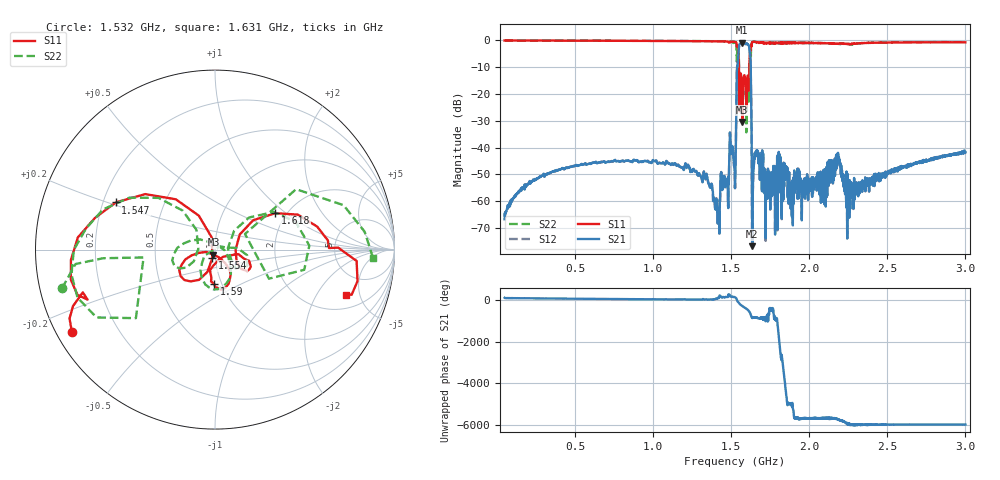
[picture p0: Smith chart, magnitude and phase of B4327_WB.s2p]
! Matrix data file written by TouchstoneData, EPCOS AG
! FILENAME: "B4327_01_WB.snp"
! COMMENT: "(B4327_01_WB.s2p) Epcos AG 5/16/2013 2:20:46"
! INFO: nport=2, nfreq=2001
! DATE: "Thu May 23 14:30:28 2013"
! USER: "Rosemary Xue"
! port | pin | signal
!  1  |  1  |  IN
!  2  |  4  |  OUT
# MHZ S RI R 50
! freq  reS11 imS11  reS21 imS21  reS12 imS12  reS22 imS22
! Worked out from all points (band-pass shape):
!   2001 points, 50 MHz to 3 GHz, reference 50 ohm
!   highest |S21| = -0.87 dB at 1.572 GHz (marker M1); lowest = -76.8 dB at 1.636 GHz (marker M2)
!   |S21| within 3 dB of the highest: 1.548 GHz to 1.619 GHz (70.6 MHz wide, 4.46 % of centre)
!   lowest |S11| = -30.4 dB at 1.572 GHz (marker M3), VSWR 1.06, Z = 49.1 - j2.84 ohm
!   |S11| at or under -10 dB: 1.55 GHz to 1.617 GHz (66.68 MHz wide, 4.21 % of centre)
!   |S22| runs from -34.3 to 0.0 dB; largest |S21 - S12| = 0.0011
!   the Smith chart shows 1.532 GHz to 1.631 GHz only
!   S11 on the Smith chart (normalised r, x): 1.532 GHz: 0.04, -0.27; 1.547 GHz: 0.25, +0.21; 1.554 GHz: 0.97, -0.09; 1.59 GHz: 0.92, -0.37; 1.618 GHz: 1.76, +0.84; 1.631 GHz: 2.98, -3.66
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50  0.9955 -0.063  -5.85e-05 0.000453  3.77e-05 0.00051  0.9968 -0.0654
542.65  0.7868 -0.6026  0.00295 0.00393  0.00298 0.00394  0.7766 -0.6195
1033.825  0.3762 -0.9038  0.00463 0.00211  0.00458 0.00211  0.3365 -0.9261
1336.2  0.033 -0.9684  0.00242 0.000799  0.00244 0.000807  -0.0321 -0.974
1411.425  -0.1066 -0.9552  0.000438 0.000415  0.000442 0.0004  -0.1819 -0.9514
1525  -0.682 -0.643  -0.000977 0.00144  -0.000968 0.00146  -0.7617 -0.4015
1532.375  -0.7977 -0.4576  0.0044 0.0349  0.00453 0.0349  -0.8529 -0.2166
1547.125  -0.5529 0.2629  -0.2845 -0.493  -0.2849 -0.493  -0.6234 0.2241
1554.5  -0.0142 -0.0455  -0.8403 0.1847  -0.8402 0.1856  -0.0928 0.00456
1572.2  -0.00846 -0.0289  0.452 0.7834  0.4522 0.7827  0.0113 0.0246
1589.9  -0.00416 -0.1921  0.7768 -0.3621  0.7768 -0.3628  -0.0635 -0.1767
1617.925  0.3362 0.2027  -0.5119 0.4567  -0.5113 0.4566  0.3263 0.2092
1631.2  0.7279 -0.2505  -0.00355 -0.0189  -0.00354 -0.0189  0.8809 -0.0476
1635.625  0.819 -0.4452  -0.00013 -6.13e-05  -0.000126 -7.22e-05  0.8735 -0.3259
1647.425  0.6468 -0.6912  -0.00355 -0.00451  -0.00356 -0.00451  0.691 -0.6452
1663.65  0.4691 -0.7959  -0.00538 -0.00705  -0.00536 -0.00707  0.4933 -0.7796
1735.925  0.2076 -0.8686  -0.00309 0.00259  -0.00307 0.00254  0.1904 -0.8773
2017.65  -0.0772 -0.8968  0.000298 0.00126  0.000298 0.00128  -0.1248 -0.8824
2181.375  -0.1464 -0.8587  0.00697 0.00323  0.00698 0.00322  -0.2215 -0.8332
2271.35  -0.1662 -0.8468  -0.000703 0.00129  -0.000715 0.00127  -0.2225 -0.8193
2508.825  -0.2736 -0.8722  -0.00245 0.00252  -0.00243 0.00252  -0.3361 -0.8575
3000  -0.4586 -0.7994  -0.00643 0.0052  -0.00638 0.00518  -0.5324 -0.7622
